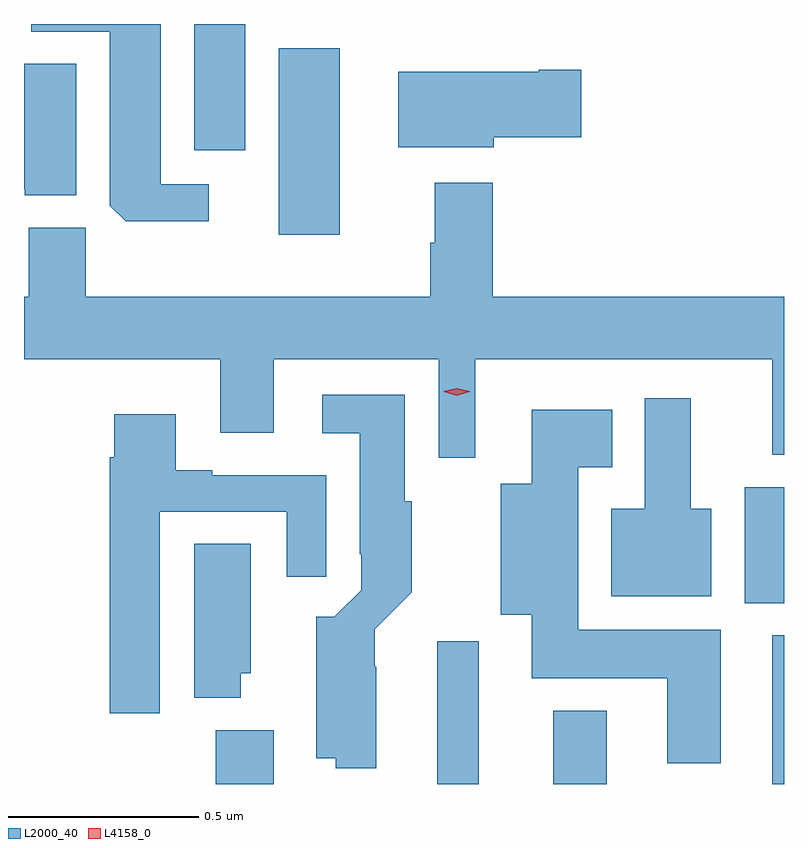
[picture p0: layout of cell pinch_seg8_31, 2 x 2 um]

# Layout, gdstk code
import gdstk
lib = gdstk.Library(unit=1e-6, precision=1e-09)
def R(c, l, rs):  # rectangles x0, y0, x1, y1
    for r in rs: c.add(gdstk.rectangle(r[:2], r[2:], *l))
def P(c, l, *ps):  # polygons
    for p in ps: c.add(gdstk.Polygon(p, *l))
L2000_40 = (2000, 40)
L4158_0 = (4158, 0)

pinch_seg8_31 = lib.new_cell('pinch_seg8_31')
R(pinch_seg8_31, L2000_40, [(934.871,1140.69,935.023,1140.832), (935.453,1140.69,935.563,1141.066), (935.759,1140.69,935.899,1140.883), (936.335,1140.69,936.366,1141.081), (936.263,1141.166,936.366,1141.471), (935.036,1142.136,935.197,1142.626), (934.814,1142.358,934.948,1142.69)])
P(pinch_seg8_31, L2000_40, [(934.852,1142.268),(934.726,1142.268),(934.726,1142.69),(934.385,1142.69),(934.385,1142.67),(934.592,1142.67),(934.592,1142.212),(934.634,1142.171),(934.852,1142.171)],
  [(934.504,1142.585),(934.366,1142.585),(934.366,1142.255),(934.368,1142.255),(934.368,1142.24),(934.504,1142.24)],
  [(935.602,1142.392),(935.833,1142.392),(935.833,1142.57),(935.72,1142.57),(935.72,1142.565),(935.351,1142.565),(935.351,1142.366),(935.602,1142.366)],
  [(935.554,1141.808),(936.335,1141.808),(936.335,1141.556),(936.366,1141.556),(936.366,1141.972),(935.6,1141.972),(935.6,1142.272),(935.447,1142.272),(935.447,1142.114),(935.435,1142.114),(935.435,1141.972),(934.529,1141.972),(934.529,1142.154),(934.379,1142.154),(934.379,1141.972),(934.366,1141.972),(934.366,1141.808),(934.883,1141.808),(934.883,1141.614),(935.023,1141.614),(935.023,1141.808),(935.457,1141.808),(935.457,1141.548),(935.554,1141.548)],
  [(935.293,1140.998),(935.289,1140.998),(935.289,1141.097),(935.386,1141.194),(935.386,1141.434),(935.368,1141.434),(935.368,1141.714),(935.151,1141.714),(935.151,1141.613),(935.249,1141.613),(935.249,1141.294),(935.253,1141.294),(935.253,1141.2),(935.183,1141.13),(935.135,1141.13),(935.135,1140.758),(935.187,1140.758),(935.187,1140.731),(935.293,1140.731)],
  [(936.175,1141.414),(936.121,1141.414),(936.121,1141.705),(935.999,1141.705),(935.999,1141.414),(935.912,1141.414),(935.912,1141.184),(936.175,1141.184)],
  [(936.199,1141.096),(935.824,1141.096),(935.824,1141.523),(935.914,1141.523),(935.914,1141.675),(935.702,1141.675),(935.702,1141.48),(935.621,1141.48),(935.621,1141.136),(935.702,1141.136),(935.702,1140.968),(936.059,1140.968),(936.059,1140.744),(936.199,1140.744)],
  [(934.723,1141.407),(935.057,1141.407),(935.057,1141.236),(935.161,1141.236),(935.161,1141.503),(934.861,1141.503),(934.861,1141.516),(934.765,1141.516),(934.765,1141.663),(934.604,1141.663),(934.604,1141.55),(934.592,1141.55),(934.592,1140.876),(934.723,1140.876)],
  [(934.936,1140.981),(934.963,1140.981),(934.963,1141.322),(934.814,1141.322),(934.814,1140.917),(934.936,1140.917)])
P(pinch_seg8_31, L4158_0, [(935.505,1141.712),(935.47,1141.722),(935.47,1141.722),(935.47,1141.723),(935.505,1141.732),(935.539,1141.723),(935.539,1141.722),(935.539,1141.722)])

lib.write_gds('pinch_seg8_31.gds')
